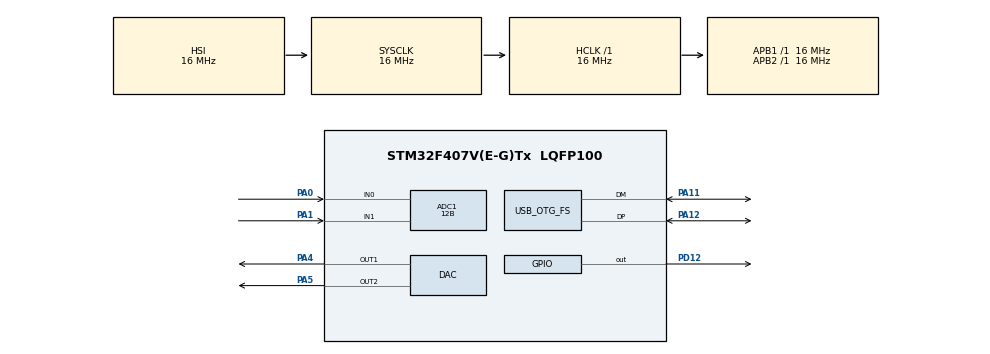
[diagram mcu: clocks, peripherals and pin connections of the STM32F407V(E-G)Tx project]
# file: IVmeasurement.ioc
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ADC1.Channel-0\#ChannelRegularConversion=ADC_CHANNEL_0
ADC1.Channel-2\#ChannelRegularConversion=ADC_CHANNEL_1
ADC1.ClockPrescaler=ADC_CLOCK_SYNC_PCLK_DIV2
ADC1.ContinuousConvMode=ENABLE
ADC1.DMAContinuousRequests=ENABLE
ADC1.DataAlign=ADC_DATAALIGN_RIGHT
ADC1.DiscontinuousConvMode=DISABLE
ADC1.EOCSelection=ADC_EOC_SEQ_CONV
ADC1.EnableAnalogWatchDog=false
ADC1.ExternalTrigConv=ADC_SOFTWARE_START
ADC1.ExternalTrigConvEdge=ADC_EXTERNALTRIGCONVEDGE_NONE
ADC1.InjNumberOfConversion=0
ADC1.NbrOfConversion=2
ADC1.NbrOfConversionFlag=1
ADC1.Rank-0\#ChannelRegularConversion=1
ADC1.Rank-2\#ChannelRegularConversion=2
ADC1.Resolution=ADC_RESOLUTION_12B
ADC1.SamplingTime-0\#ChannelRegularConversion=ADC_SAMPLETIME_3CYCLES
ADC1.SamplingTime-2\#ChannelRegularConversion=ADC_SAMPLETIME_3CYCLES
ADC1.ScanConvMode=ENABLE
ADC1.master=1
Dma.ADC1.0.Direction=DMA_PERIPH_TO_MEMORY
Dma.ADC1.0.FIFOMode=DMA_FIFOMODE_DISABLE
Dma.ADC1.0.Instance=DMA2_Stream0
Dma.ADC1.0.MemDataAlignment=DMA_MDATAALIGN_WORD
Dma.ADC1.0.MemInc=DMA_MINC_ENABLE
Dma.ADC1.0.Mode=DMA_NORMAL
Dma.ADC1.0.PeriphDataAlignment=DMA_PDATAALIGN_WORD
Dma.ADC1.0.PeriphInc=DMA_PINC_DISABLE
Dma.ADC1.0.Priority=DMA_PRIORITY_LOW
Dma.Request0=ADC1
Mcu.Family=STM32F4
Mcu.Name=STM32F407V(E-G)Tx
Mcu.Package=LQFP100
NVIC.DMA2_Stream0_IRQn=true\:0\:0\:false\:false\:true\:false
NVIC.OTG_FS_IRQn=true\:0\:0\:false\:false\:true\:false
NVIC.PriorityGroup=NVIC_PRIORITYGROUP_4
PA0-WKUP.Signal=ADCx_IN0
PA1.Signal=ADCx_IN1
PA11.Mode=Device_Only
PA11.Signal=USB_OTG_FS_DM
PA12.Mode=Device_Only
PA12.Signal=USB_OTG_FS_DP
PA4.Signal=COMP_DAC1_group
PA5.Signal=COMP_DAC2_group
PD12.Signal=GPIO_Output
PH0-OSC_IN.Mode=HSE-External-Oscillator
PH0-OSC_IN.Signal=RCC_OSC_IN
PH1-OSC_OUT.Mode=HSE-External-Oscillator
PH1-OSC_OUT.Signal=RCC_OSC_OUT
ProjectManager.HeapSize=0x200
ProjectManager.StackSize=0x400
ProjectManager.TargetToolchain=SW4STM32
RCC.48MHZClocksFreq_Value=48000000
RCC.AHBFreq_Value=16000000
RCC.APB1Freq_Value=16000000
RCC.APB2Freq_Value=16000000
RCC.CortexFreq_Value=16000000
RCC.HSE_VALUE=8000000
RCC.HSI_VALUE=16000000
RCC.LSE_VALUE=32768
RCC.PLLM=4
RCC.PLLN=72
RCC.PLLQ=3
RCC.SYSCLKFreq_VALUE=16000000
RCC.VCOOutputFreq_Value=144000000
SH.ADCx_IN0.0=ADC1_IN0,IN0
SH.ADCx_IN1.0=ADC1_IN1,IN1
SH.COMP_DAC1_group.0=DAC_OUT1,DAC_OUT1
SH.COMP_DAC2_group.0=DAC_OUT2,DAC_OUT2
USB_DEVICE.CLASS_NAME_FS=CDC
USB_DEVICE.VirtualMode-CDC_FS=Cdc
USB_DEVICE.VirtualModeFS=Cdc_FS
USB_OTG_FS.VirtualMode=Device_Only
VP_USB_DEVICE_VS_USB_DEVICE_CDC_FS.Mode=CDC_FS
board=custom

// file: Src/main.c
/**
  ******************************************************************************
  * @file           : main.c
  * @brief          : Main program body
  ******************************************************************************
  * This notice applies to any and all portions of this file
  * that are not between comment pairs USER CODE BEGIN and
  * USER CODE END. Other portions of this file, whether
  * inserted by the user or by software development tools
  * are owned by their respective copyright owners.
  *
  * Copyright (c) 2018 STMicroelectronics International N.V.
  * All rights reserved.
  *
  * Redistribution and use in source and binary forms, with or without
  * modification, are permitted, provided that the following conditions are met:
  *
  * 1. Redistribution of source code must retain the above copyright notice,
  *    this list of conditions and the following disclaimer.
  * 2. Redistributions in binary form must reproduce the above copyright notice,
  *    this list of conditions and the following disclaimer in the documentation
  *    and/or other materials provided with the distribution.
  * 3. Neither the name of STMicroelectronics nor the names of other
  *    contributors to this software may be used to endorse or promote products
  *    derived from this software without specific written permission.
  * 4. This software, including modifications and/or derivative works of this
  *    software, must execute solely and exclusively on microcontroller or
  *    microprocessor devices manufactured by or for STMicroelectronics.
  * 5. Redistribution and use of this software other than as permitted under
  *    this license is void and will automatically terminate your rights under
  *    this license.
  *
  * THIS SOFTWARE IS PROVIDED BY STMICROELECTRONICS AND CONTRIBUTORS "AS IS"
  * AND ANY EXPRESS, IMPLIED OR STATUTORY WARRANTIES, INCLUDING, BUT NOT
  * LIMITED TO, THE IMPLIED WARRANTIES OF MERCHANTABILITY, FITNESS FOR A
  * PARTICULAR PURPOSE AND NON-INFRINGEMENT OF THIRD PARTY INTELLECTUAL PROPERTY
  * RIGHTS ARE DISCLAIMED TO THE FULLEST EXTENT PERMITTED BY LAW. IN NO EVENT
  * SHALL STMICROELECTRONICS OR CONTRIBUTORS BE LIABLE FOR ANY DIRECT, INDIRECT,
  * INCIDENTAL, SPECIAL, EXEMPLARY, OR CONSEQUENTIAL DAMAGES (INCLUDING, BUT NOT
  * LIMITED TO, PROCUREMENT OF SUBSTITUTE GOODS OR SERVICES; LOSS OF USE, DATA,
  * OR PROFITS; OR BUSINESS INTERRUPTION) HOWEVER CAUSED AND ON ANY THEORY OF
  * LIABILITY, WHETHER IN CONTRACT, STRICT LIABILITY, OR TORT (INCLUDING
  * NEGLIGENCE OR OTHERWISE) ARISING IN ANY WAY OUT OF THE USE OF THIS SOFTWARE,
  * EVEN IF ADVISED OF THE POSSIBILITY OF SUCH DAMAGE.
  *
  ******************************************************************************
  */
#include "main.h"
#include "stm32f4xx_hal.h"
#include "usb_device.h"

/* USER CODE BEGIN Includes */
#include <string.h>

unsigned char fUsbReceived = 0;

struct USBHandler USBh;

/* USER CODE END Includes */

ADC_HandleTypeDef hadc1;
DMA_HandleTypeDef hdma_adc1;

DAC_HandleTypeDef hdac;

/* USER CODE BEGIN PV */
/* Private variables ---------------------------------------------------------*/

/* USER CODE END PV */

void SystemClock_Config(void);
static void MX_GPIO_Init(void);
static void MX_DMA_Init(void);
static void MX_ADC1_Init(void);
static void MX_DAC_Init(void);

/* USER CODE BEGIN PFP */
/* Private function prototypes -----------------------------------------------*/

/* USER CODE END PFP */

/* USER CODE BEGIN 0 */
void doIVmeasure(void);

uint32_t adcValue[2];

uint16_t adc1Data[4096];
uint16_t adc2Data[4096];

/* USER CODE END 0 */

int main(void)
{
  /* USER CODE BEGIN 1 */
  uint8_t message[80];
  /* USER CODE END 1 */

  /* MCU Configuration----------------------------------------------------------*/

  /* Reset of all peripherals, Initializes the Flash interface and the Systick. */
  HAL_Init();

  /* Configure the system clock */
  SystemClock_Config();

  /* Initialize all configured peripherals */
  MX_GPIO_Init();
  MX_DMA_Init();
  MX_ADC1_Init();
  MX_DAC_Init();
  MX_USB_DEVICE_Init();
  /* USER CODE BEGIN 2 */

  HAL_GPIO_WritePin(GPIOD,GPIO_PIN_12,GPIO_PIN_RESET);
  HAL_DAC_Start(&hdac,DAC_CHANNEL_1);
  HAL_DAC_Start(&hdac,DAC_CHANNEL_2);

  HAL_DAC_SetValue(&hdac,DAC_CHANNEL_1,DAC_ALIGN_12B_R,0);
  HAL_DAC_SetValue(&hdac,DAC_CHANNEL_2,DAC_ALIGN_12B_R,0);

  /* USER CODE END 2 */

  /* Infinite loop */
  while (1)
  {

  /* USER CODE BEGIN 3 */
	if (fUsbReceived == 1)
	{
		fUsbReceived = 0;
		aquireOneMeasure(2700,0);
	}
	if (fUsbReceived == 2)
	{
		fUsbReceived = 0;
		transmmitOneMeasure(adc1Data);
	}
	if (fUsbReceived == 3)
	{
		fUsbReceived = 0;
		transmmitOneMeasure(adc2Data);
	}
	if (fUsbReceived == 4)
	{
		fUsbReceived = 0;
		aquireOneMeasure(2700,1);
	}

/*
	HAL_ADC_Start_DMA(&hadc1,(uint32_t *) adcValue,2);
	sprintf(message,"ADC1:%d  ADC2:%d\n",adcValue[0],adcValue[1]);
	CDC_Transmit_FS(message,strlen(message));
	HAL_Delay(100);
	HAL_ADC_Stop_DMA(&hadc1);
*/
  }
  /* USER CODE END 3 */

}

void SystemClock_Config(void)
{

  RCC_OscInitTypeDef RCC_OscInitStruct;
  RCC_ClkInitTypeDef RCC_ClkInitStruct;

    /**Configure the main internal regulator output voltage
    */
  __HAL_RCC_PWR_CLK_ENABLE();

  __HAL_PWR_VOLTAGESCALING_CONFIG(PWR_REGULATOR_VOLTAGE_SCALE1);

    /**Initializes the CPU, AHB and APB busses clocks
    */
  RCC_OscInitStruct.OscillatorType = RCC_OSCILLATORTYPE_HSI|RCC_OSCILLATORTYPE_HSE;
  RCC_OscInitStruct.HSEState = RCC_HSE_ON;
  RCC_OscInitStruct.HSIState = RCC_HSI_ON;
  RCC_OscInitStruct.HSICalibrationValue = 16;
  RCC_OscInitStruct.PLL.PLLState = RCC_PLL_ON;
  RCC_OscInitStruct.PLL.PLLSource = RCC_PLLSOURCE_HSE;
  RCC_OscInitStruct.PLL.PLLM = 4;
  RCC_OscInitStruct.PLL.PLLN = 72;
  RCC_OscInitStruct.PLL.PLLP = RCC_PLLP_DIV2;
  RCC_OscInitStruct.PLL.PLLQ = 3;
  if (HAL_RCC_OscConfig(&RCC_OscInitStruct) != HAL_OK)
  {
    _Error_Handler(__FILE__, __LINE__);
  }

    /**Initializes the CPU, AHB and APB busses clocks
    */
  RCC_ClkInitStruct.ClockType = RCC_CLOCKTYPE_HCLK|RCC_CLOCKTYPE_SYSCLK
                              |RCC_CLOCKTYPE_PCLK1|RCC_CLOCKTYPE_PCLK2;
  RCC_ClkInitStruct.SYSCLKSource = RCC_SYSCLKSOURCE_HSI;
  RCC_ClkInitStruct.AHBCLKDivider = RCC_SYSCLK_DIV1;
  RCC_ClkInitStruct.APB1CLKDivider = RCC_HCLK_DIV1;
  RCC_ClkInitStruct.APB2CLKDivider = RCC_HCLK_DIV1;

  if (HAL_RCC_ClockConfig(&RCC_ClkInitStruct, FLASH_LATENCY_0) != HAL_OK)
  {
    _Error_Handler(__FILE__, __LINE__);
  }

    /**Configure the Systick interrupt time
    */
  HAL_SYSTICK_Config(HAL_RCC_GetHCLKFreq()/1000);

    /**Configure the Systick
    */
  HAL_SYSTICK_CLKSourceConfig(SYSTICK_CLKSOURCE_HCLK);

  /* SysTick_IRQn interrupt configuration */
  HAL_NVIC_SetPriority(SysTick_IRQn, 0, 0);
}

/* ADC1 init function */
static void MX_ADC1_Init(void)
{

  ADC_ChannelConfTypeDef sConfig;

    /**Configure the global features of the ADC (Clock, Resolution, Data Alignment and number of conversion)
    */
  hadc1.Instance = ADC1;
  hadc1.Init.ClockPrescaler = ADC_CLOCK_SYNC_PCLK_DIV2;
  hadc1.Init.Resolution = ADC_RESOLUTION_12B;
  hadc1.Init.ScanConvMode = ENABLE;
  hadc1.Init.ContinuousConvMode = ENABLE;
  hadc1.Init.DiscontinuousConvMode = DISABLE;
  hadc1.Init.ExternalTrigConvEdge = ADC_EXTERNALTRIGCONVEDGE_NONE;
  hadc1.Init.ExternalTrigConv = ADC_SOFTWARE_START;
  hadc1.Init.DataAlign = ADC_DATAALIGN_RIGHT;
  hadc1.Init.NbrOfConversion = 2;
  hadc1.Init.DMAContinuousRequests = ENABLE;
  hadc1.Init.EOCSelection = ADC_EOC_SEQ_CONV;
  if (HAL_ADC_Init(&hadc1) != HAL_OK)
  {
    _Error_Handler(__FILE__, __LINE__);
  }

    /**Configure for the selected ADC regular channel its corresponding rank in the sequencer and its sample time.
    */
  sConfig.Channel = ADC_CHANNEL_0;
  sConfig.Rank = 1;
  sConfig.SamplingTime = ADC_SAMPLETIME_3CYCLES;
  if (HAL_ADC_ConfigChannel(&hadc1, &sConfig) != HAL_OK)
  {
    _Error_Handler(__FILE__, __LINE__);
  }

    /**Configure for the selected ADC regular channel its corresponding rank in the sequencer and its sample time.
    */
  sConfig.Channel = ADC_CHANNEL_1;
  sConfig.Rank = 2;
  if (HAL_ADC_ConfigChannel(&hadc1, &sConfig) != HAL_OK)
  {
    _Error_Handler(__FILE__, __LINE__);
  }

}

/* DAC init function */
static void MX_DAC_Init(void)
{

  DAC_ChannelConfTypeDef sConfig;

    /**DAC Initialization
    */
  hdac.Instance = DAC;
  if (HAL_DAC_Init(&hdac) != HAL_OK)
  {
    _Error_Handler(__FILE__, __LINE__);
  }

    /**DAC channel OUT1 config
    */
  sConfig.DAC_Trigger = DAC_TRIGGER_NONE;
  sConfig.DAC_OutputBuffer = DAC_OUTPUTBUFFER_ENABLE;
  if (HAL_DAC_ConfigChannel(&hdac, &sConfig, DAC_CHANNEL_1) != HAL_OK)
  {
    _Error_Handler(__FILE__, __LINE__);
  }

    /**DAC channel OUT2 config
    */
  if (HAL_DAC_ConfigChannel(&hdac, &sConfig, DAC_CHANNEL_2) != HAL_OK)
  {
    _Error_Handler(__FILE__, __LINE__);
  }

}

static void MX_DMA_Init(void)
{
  /* DMA controller clock enable */
  __HAL_RCC_DMA2_CLK_ENABLE();

  /* DMA interrupt init */
  /* DMA2_Stream0_IRQn interrupt configuration */
  HAL_NVIC_SetPriority(DMA2_Stream0_IRQn, 0, 0);
  HAL_NVIC_EnableIRQ(DMA2_Stream0_IRQn);

}

/** Configure pins as
        * Analog
        * Input
        * Output
        * EVENT_OUT
        * EXTI
*/
static void MX_GPIO_Init(void)
{

  GPIO_InitTypeDef GPIO_InitStruct;

  /* GPIO Ports Clock Enable */
  __HAL_RCC_GPIOH_CLK_ENABLE();
  __HAL_RCC_GPIOA_CLK_ENABLE();
  __HAL_RCC_GPIOD_CLK_ENABLE();

  /*Configure GPIO pin Output Level */
  HAL_GPIO_WritePin(GPIOD, GPIO_PIN_12, GPIO_PIN_RESET);

  /*Configure GPIO pin : PD12 */
  GPIO_InitStruct.Pin = GPIO_PIN_12;
  GPIO_InitStruct.Mode = GPIO_MODE_OUTPUT_PP;
  GPIO_InitStruct.Pull = GPIO_NOPULL;
  GPIO_InitStruct.Speed = GPIO_SPEED_FREQ_LOW;
  HAL_GPIO_Init(GPIOD, &GPIO_InitStruct);

}

/* USER CODE BEGIN 4 */

void transmmitOneMeasure(uint16_t * adcData)
{
	uint16_t count = 0;
	uint16_t buffer_count = 0;

	uint8_t buffer[4096*2];

	for(count = 0; count <= 0xFFF;)
	{
		buffer[buffer_count++] = (uint8_t) (adcData[count]>>8)&0xff;
		buffer[buffer_count++] = (uint8_t) adcData[count++]&0xff;
	}

	CDC_Transmit_FS(buffer,4096*2);

	return;
}

void aquireOneMeasure(uint16_t dac2Value,uint8_t way)
{
	uint16_t dacValue = 0;

	uint8_t message[30]; // NEW IMPLEMENTATION

	HAL_DAC_SetValue(&hdac,DAC_CHANNEL_2,DAC_ALIGN_12B_R,dac2Value);

	// NEW IMPLEMENTATION ************************************************
	if (way == 0)
	{
		HAL_DAC_SetValue(&hdac,DAC_CHANNEL_1,DAC_ALIGN_12B_R,0);

		for (dacValue = 0; dacValue <= 0xFFF; dacValue++)
		{
			HAL_DAC_SetValue(&hdac,DAC_CHANNEL_1,DAC_ALIGN_12B_R,dacValue);

			HAL_ADC_Start_DMA(&hadc1,(uint32_t *) adcValue,2);
			if (HAL_ADC_PollForConversion(&hadc1,1) == HAL_OK){}
			HAL_ADC_Stop_DMA(&hadc1);

			adc1Data[dacValue] = adcValue[0];
			adc2Data[dacValue] = adcValue[1];
		}
	}
	else
	{
		HAL_DAC_SetValue(&hdac,DAC_CHANNEL_1,DAC_ALIGN_12B_R,0xFFF);

		for (dacValue = 0xFFF; dacValue >= 0; dacValue--)
		{
			HAL_DAC_SetValue(&hdac,DAC_CHANNEL_1,DAC_ALIGN_12B_R,dacValue);

			HAL_ADC_Start_DMA(&hadc1,(uint32_t *) adcValue,2);
			if (HAL_ADC_PollForConversion(&hadc1,1) == HAL_OK){}
			HAL_ADC_Stop_DMA(&hadc1);

			adc1Data[dacValue] = adcValue[0];
			adc2Data[dacValue] = adcValue[1];
		}
	}

	HAL_DAC_SetValue(&hdac,DAC_CHANNEL_1,DAC_ALIGN_12B_R,0xFFF);
	HAL_DAC_SetValue(&hdac,DAC_CHANNEL_2,DAC_ALIGN_12B_R,0xFFF);

	return;

	// END NEW IMPLEMENTATION ************************************************

	for (dacValue = 0; dacValue <= 0xFFF; dacValue++)
	{
		HAL_DAC_SetValue(&hdac,DAC_CHANNEL_1,DAC_ALIGN_12B_R,dacValue);

		HAL_ADC_Start_DMA(&hadc1,(uint32_t *) adcValue,2);
		if (HAL_ADC_PollForConversion(&hadc1,1) == HAL_OK){}
		HAL_ADC_Stop_DMA(&hadc1);

		adc1Data[dacValue] = adcValue[0];
		adc2Data[dacValue] = adcValue[1];

		//message[0] = (uint8_t) (adcValue[0]>>8);
		//message[1] = (uint8_t) (adcValue[0]&0xff);
		//message[2] = (uint8_t) (adcValue[1]>>8);
		//message[3] = (uint8_t) (adcValue[1]&0xff);

		//HAL_Delay(3);

		//CDC_Transmit_FS(message,4); //NEW IMPLEMENTATION
	}

	HAL_DAC_SetValue(&hdac,DAC_CHANNEL_1,DAC_ALIGN_12B_R,0);
	HAL_DAC_SetValue(&hdac,DAC_CHANNEL_2,DAC_ALIGN_12B_R,0);

	return;
}
/* USER CODE END 4 */

void _Error_Handler(char *file, int line)
{
  while(1)
  {
  }
}

/************************ (C) COPYRIGHT STMicroelectronics *****END OF FILE****/
